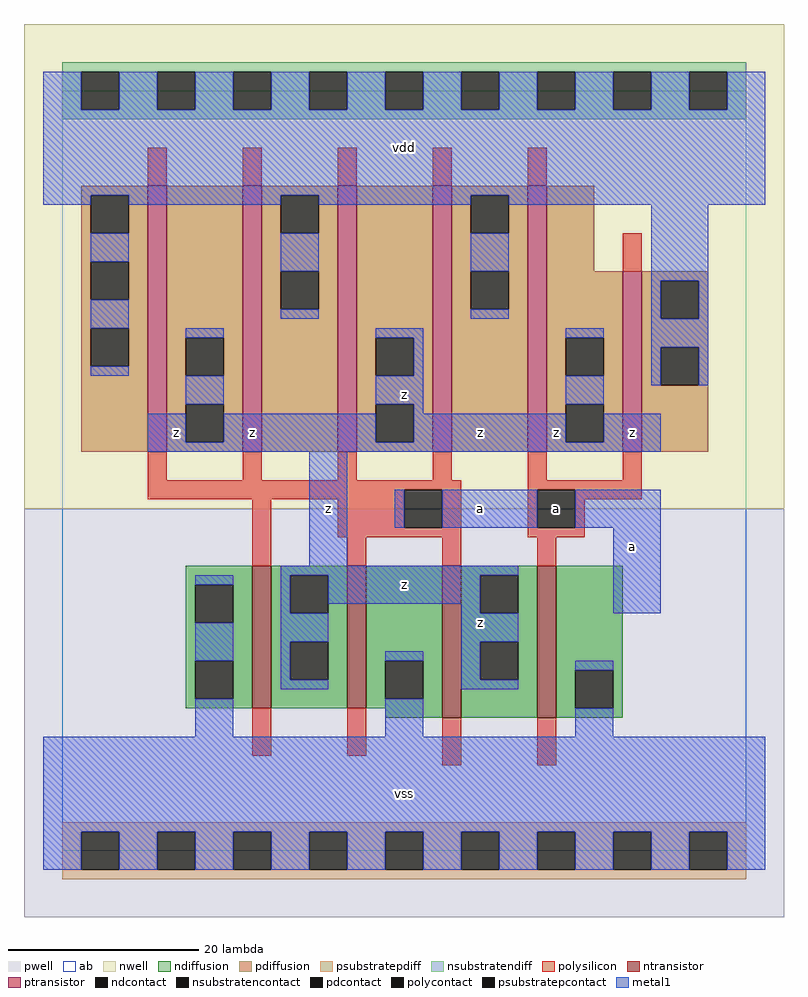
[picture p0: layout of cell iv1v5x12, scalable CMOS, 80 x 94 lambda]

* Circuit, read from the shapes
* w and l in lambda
.subckt iv1v5x12 a vdd vss z
M1 z a vss vss nfet w=15 l=2 m=2
M2 z a vss vss nfet w=16 l=2 m=2
M3 z a vdd vdd pfet w=28 l=2 m=5
M4 vdd a z vdd pfet w=19 l=2
.ends

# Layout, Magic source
magic
tech scmos
<< ab >>
rect 0 0 72 80
<< pwell >>
rect -4 -7 76 36
<< nwell >>
rect -4 36 76 87
<< polysilicon >>
rect 9 70 11 74
rect 19 70 21 74
rect 29 70 31 74
rect 39 70 41 74
rect 49 70 51 74
rect 59 61 61 65
rect 9 39 11 42
rect 19 39 21 42
rect 29 39 31 42
rect 39 39 41 42
rect 49 39 51 42
rect 59 39 61 42
rect 9 38 42 39
rect 9 37 36 38
rect 20 30 22 37
rect 29 34 36 37
rect 40 34 42 38
rect 29 33 42 34
rect 49 38 61 39
rect 49 34 50 38
rect 54 37 61 38
rect 54 34 55 37
rect 49 33 55 34
rect 30 30 32 33
rect 40 30 42 33
rect 50 30 52 33
rect 20 10 22 15
rect 30 10 32 15
rect 40 9 42 14
rect 50 9 52 14
<< ndiffusion >>
rect 13 28 20 30
rect 13 24 14 28
rect 18 24 20 28
rect 13 20 20 24
rect 13 16 14 20
rect 18 16 20 20
rect 13 15 20 16
rect 22 29 30 30
rect 22 25 24 29
rect 28 25 30 29
rect 22 22 30 25
rect 22 18 24 22
rect 28 18 30 22
rect 22 15 30 18
rect 32 20 40 30
rect 32 16 34 20
rect 38 16 40 20
rect 32 15 40 16
rect 34 14 40 15
rect 42 29 50 30
rect 42 25 44 29
rect 48 25 50 29
rect 42 22 50 25
rect 42 18 44 22
rect 48 18 50 22
rect 42 14 50 18
rect 52 19 59 30
rect 52 15 54 19
rect 58 15 59 19
rect 52 14 59 15
<< pdiffusion >>
rect 2 69 9 70
rect 2 65 3 69
rect 7 65 9 69
rect 2 62 9 65
rect 2 58 3 62
rect 7 58 9 62
rect 2 55 9 58
rect 2 51 3 55
rect 7 51 9 55
rect 2 42 9 51
rect 11 54 19 70
rect 11 50 13 54
rect 17 50 19 54
rect 11 47 19 50
rect 11 43 13 47
rect 17 43 19 47
rect 11 42 19 43
rect 21 69 29 70
rect 21 65 23 69
rect 27 65 29 69
rect 21 61 29 65
rect 21 57 23 61
rect 27 57 29 61
rect 21 42 29 57
rect 31 54 39 70
rect 31 50 33 54
rect 37 50 39 54
rect 31 47 39 50
rect 31 43 33 47
rect 37 43 39 47
rect 31 42 39 43
rect 41 69 49 70
rect 41 65 43 69
rect 47 65 49 69
rect 41 61 49 65
rect 41 57 43 61
rect 47 57 49 61
rect 41 42 49 57
rect 51 61 56 70
rect 51 54 59 61
rect 51 50 53 54
rect 57 50 59 54
rect 51 47 59 50
rect 51 43 53 47
rect 57 43 59 47
rect 51 42 59 43
rect 61 60 68 61
rect 61 56 63 60
rect 67 56 68 60
rect 61 53 68 56
rect 61 49 63 53
rect 67 49 68 53
rect 61 42 68 49
<< metal1 >>
rect -2 78 2 82
rect 6 78 10 82
rect 14 78 18 82
rect 22 78 26 82
rect 30 78 34 82
rect 38 78 42 82
rect 46 78 50 82
rect 54 78 58 82
rect 62 78 66 82
rect 70 78 74 82
rect -2 69 74 78
rect -2 68 3 69
rect 7 68 23 69
rect 3 62 7 65
rect 3 55 7 58
rect 27 68 43 69
rect 23 61 27 65
rect 23 56 27 57
rect 47 68 74 69
rect 43 61 47 65
rect 43 56 47 57
rect 62 60 68 68
rect 62 56 63 60
rect 67 56 68 60
rect 3 50 7 51
rect 13 54 17 55
rect 13 47 17 50
rect 9 43 13 46
rect 33 54 38 55
rect 37 50 38 54
rect 33 47 38 50
rect 17 43 33 46
rect 37 46 38 47
rect 53 54 57 55
rect 53 47 57 50
rect 62 53 68 56
rect 62 49 63 53
rect 67 49 68 53
rect 37 43 53 46
rect 57 43 63 46
rect 9 42 63 43
rect 26 30 30 42
rect 35 34 36 38
rect 40 34 50 38
rect 54 34 63 38
rect 23 29 48 30
rect 14 28 18 29
rect 14 20 18 24
rect 23 25 24 29
rect 28 26 44 29
rect 23 22 28 25
rect 23 18 24 22
rect 42 25 44 26
rect 58 25 63 34
rect 42 22 48 25
rect 23 17 28 18
rect 34 20 38 21
rect 14 12 18 16
rect 42 18 44 22
rect 42 17 48 18
rect 54 19 58 20
rect 34 12 38 16
rect 54 12 58 15
rect -2 2 74 12
rect -2 -2 2 2
rect 6 -2 10 2
rect 14 -2 18 2
rect 22 -2 26 2
rect 30 -2 34 2
rect 38 -2 42 2
rect 46 -2 50 2
rect 54 -2 58 2
rect 62 -2 66 2
rect 70 -2 74 2
<< ntransistor >>
rect 20 15 22 30
rect 30 15 32 30
rect 40 14 42 30
rect 50 14 52 30
<< ptransistor >>
rect 9 42 11 70
rect 19 42 21 70
rect 29 42 31 70
rect 39 42 41 70
rect 49 42 51 70
rect 59 42 61 61
<< polycontact >>
rect 36 34 40 38
rect 50 34 54 38
<< ndcontact >>
rect 14 24 18 28
rect 14 16 18 20
rect 24 25 28 29
rect 24 18 28 22
rect 34 16 38 20
rect 44 25 48 29
rect 44 18 48 22
rect 54 15 58 19
<< pdcontact >>
rect 3 65 7 69
rect 3 58 7 62
rect 3 51 7 55
rect 13 50 17 54
rect 13 43 17 47
rect 23 65 27 69
rect 23 57 27 61
rect 33 50 37 54
rect 33 43 37 47
rect 43 65 47 69
rect 43 57 47 61
rect 53 50 57 54
rect 53 43 57 47
rect 63 56 67 60
rect 63 49 67 53
<< psubstratepcontact >>
rect 2 -2 6 2
rect 10 -2 14 2
rect 18 -2 22 2
rect 26 -2 30 2
rect 34 -2 38 2
rect 42 -2 46 2
rect 50 -2 54 2
rect 58 -2 62 2
rect 66 -2 70 2
<< nsubstratencontact >>
rect 2 78 6 82
rect 10 78 14 82
rect 18 78 22 82
rect 26 78 30 82
rect 34 78 38 82
rect 42 78 46 82
rect 50 78 54 82
rect 58 78 62 82
rect 66 78 70 82
<< psubstratepdiff >>
rect 0 2 72 3
rect 0 -2 2 2
rect 6 -2 10 2
rect 14 -2 18 2
rect 22 -2 26 2
rect 30 -2 34 2
rect 38 -2 42 2
rect 46 -2 50 2
rect 54 -2 58 2
rect 62 -2 66 2
rect 70 -2 72 2
rect 0 -3 72 -2
<< nsubstratendiff >>
rect 0 82 72 83
rect 0 78 2 82
rect 6 78 10 82
rect 14 78 18 82
rect 22 78 26 82
rect 30 78 34 82
rect 38 78 42 82
rect 46 78 50 82
rect 54 78 58 82
rect 62 78 66 82
rect 70 78 72 82
rect 0 77 72 78
<< labels >>
rlabel metal1 12 44 12 44 6 z
rlabel metal1 20 44 20 44 6 z
rlabel metal1 36 6 36 6 6 vss
rlabel metal1 36 28 36 28 6 z
rlabel metal1 28 36 28 36 6 z
rlabel metal1 36 48 36 48 6 z
rlabel metal1 36 74 36 74 6 vdd
rlabel metal1 44 24 44 24 6 z
rlabel metal1 44 36 44 36 6 a
rlabel metal1 44 44 44 44 6 z
rlabel metal1 52 44 52 44 6 z
rlabel polycontact 52 36 52 36 6 a
rlabel metal1 60 32 60 32 6 a
rlabel metal1 60 44 60 44 6 z
<< end >>
